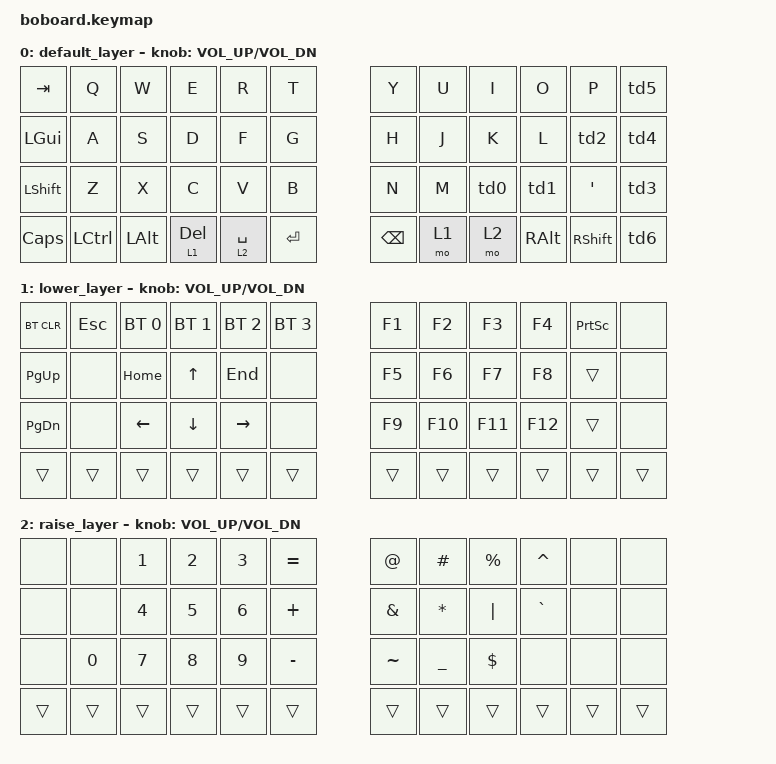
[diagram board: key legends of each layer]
/*
 * Copyright (c) 2023 The ZMK Contributors
 *
 * SPDX-License-Identifier: MIT
 */

#include <behaviors.dtsi>
#include <dt-bindings/zmk/keys.h>
#include <dt-bindings/zmk/bt.h>
#include <dt-bindings/zmk/ext_power.h>
#include <dt-bindings/zmk/outputs.h>


/* Uncomment this block if using RGB
&led_strip {
    chain-length = <6>;
    // chain-length = <35>; // Uncomment if using both per-key and underglow LEDs
    // chain-length = <29>; // Uncomment if using only per-key LEDs.
};
 */

&mt {
    tapping-term-ms = <200>;
};

/ {
    behaviors {
        td0: tap_dance_0 {
            compatible = "zmk,behavior-tap-dance";
            #binding-cells = <0>;
            tapping-term-ms = <200>;
            bindings = <&kp COMMA>, <&kp QUESTION>;
        };
        td1: tap_dance_1 {
            compatible = "zmk,behavior-tap-dance";
            #binding-cells = <0>;
            tapping-term-ms = <200>;
            bindings = <&kp PERIOD>, <&kp EXCLAMATION>;
        };
        td2: tap_dance_2 {
            compatible = "zmk,behavior-tap-dance";
            #binding-cells = <0>;
            tapping-term-ms = <200>;
            bindings = <&kp SEMI>, <&kp CARET>;
        };
        td3: tap_dance_3 {
            compatible = "zmk,behavior-tap-dance";
            #binding-cells = <0>;
            tapping-term-ms = <200>;
            bindings = <&kp LEFT_PARENTHESIS>, <&kp RIGHT_PARENTHESIS>;
        };
        td4: tap_dance_4 {
            compatible = "zmk,behavior-tap-dance";
            #binding-cells = <0>;
            tapping-term-ms = <200>;
            bindings = <&kp LEFT_BRACKET>, <&kp RIGHT_BRACKET>;
        };
        td5: tap_dance_5 {
            compatible = "zmk,behavior-tap-dance";
            #binding-cells = <0>;
            tapping-term-ms = <200>;
            bindings = <&kp LEFT_BRACE>, <&kp RIGHT_BRACE>;
        };
         td6: tap_dance_6 {
            compatible = "zmk,behavior-tap-dance";
            #binding-cells = <0>;
            tapping-term-ms = <200>;
            bindings = <&kp SLASH>, <&kp BACKSLASH>;
        };
    };

    keymap {
        compatible = "zmk,keymap";

        default_layer {
// ------------------------------------------------------------------------------------------------------------
// |  TAB  |  Q  |  W  |  E  |   R   |  T  |                   |  Y   |  U  |  I  |  O  |   P   |  { }  |
// |  WIN  |  A  |  S  |  D  |   F   |  G  |                   |  H   |  J  |  K  |  L  |  ; :  |  [ ]  |
// | SHIFT |  Z  |  X  |  C  |   V   |  B  |                   |  N   |  M  |,  < | .  >|  ' "  |  ( )  |
// | CAPS  | CTRL| ALT |1 DEL|2 SPACE|ENTER|                   | BSPC |  1  |  2  | ALT | SHIFT |  / \  |
            bindings = <
&kp TAB      &kp Q      &kp W       &kp E       &kp R       &kp T                      &kp Y      &kp U       &kp I       &kp O       &kp P            &td5
&kp LGUI     &kp A      &kp S       &kp D       &kp F       &kp G                      &kp H      &kp J       &kp K       &kp L       &td2             &td4
&kp LSHFT    &kp Z      &kp X       &kp C       &kp V       &kp B                      &kp N      &kp M       &td0        &td1        &kp APOSTROPHE   &td3
&kp CAPS     &kp LCTRL  &kp LALT    &lt 1 DEL   &lt 2 SPACE &kp ENTER                  &kp BSPC   &mo 1       &mo 2       &kp RALT    &kp RSHFT        &td6
            >;

            sensor-bindings = <&inc_dec_kp C_VOL_UP C_VOL_DN>;
        };

        lower_layer {
// ------------------------------------------------------------------------------------------------------------
// | BTCLR | ESC | BT1 | BT2 | BT3 | BT4 |                   |  F1  |  F2  |  F3  |  F4  |PSCRN|      |
// | PG_UP |     | HOME|  ↑  | END |     |                   |  F5  |  F6  |  F7  |  F8  |     |      |
// | PG_DN |     |  ←  |  ↓  |  →  |     |                   |  F9  |  F10 |  F11 | F12  |     |      |
// |       |     |     |     |     |     |                   |      |      |      |      |     |      |
            bindings = <
&bt BT_CLR   &kp ESC     &bt BT_SEL 0   &bt BT_SEL 1   &bt BT_SEL 2   &bt BT_SEL 3            &kp F1    &kp F2    &kp F3    &kp F4    &kp PSCRN  &none
&kp PG_UP    &none       &kp HOME       &kp UP         &kp END        &none                   &kp F5    &kp F6    &kp F7    &kp F8    &trans     &none
&kp PG_DN    &none       &kp LEFT       &kp DOWN       &kp RIGHT      &none                   &kp F9    &kp F10   &kp F11   &kp F12   &trans     &none
&trans       &trans      &trans         &trans         &trans         &trans                  &trans    &trans    &trans    &trans    &trans     &trans
            >;

            sensor-bindings = <&inc_dec_kp C_VOL_UP C_VOL_DN>;
        };

        raise_layer {
// ------------------------------------------------------------------------------------------------------------
// |   |   |  1  |  2  |  3  | = |                   |  @  |  #  |  %  |  ^  |     |     |
// |   |   |  4  |  5  |  6  | + |                   |  &  |  *  |  |  |  `  |     |     |
// |   | 0 |  7  |  8  |  9  | - |                   |  ~  |  _  |  $  |     |     |     |
// |   |   |     |     |     |   |                   |     |     |     |     |     |     |
            bindings = <
&none   &none    &kp N1   &kp N2    &kp N3    &kp EQUAL                   &kp AT     &kp HASH   &kp PRCNT  &kp CARET  &none     &none
&none   &none    &kp N4   &kp N5    &kp N6    &kp PLUS                    &kp AMPS   &kp ASTRK  &kp PIPE   &kp GRAVE  &none     &none
&none   &kp N0   &kp N7   &kp N8    &kp N9    &kp MINUS                   &kp TILDE  &kp UNDER  &kp DOLLAR &none      &none     &none
&trans  &trans   &trans   &trans    &trans    &trans                      &trans     &trans     &trans     &trans     &trans    &trans
              >;

                sensor-bindings = <&inc_dec_kp C_VOL_UP C_VOL_DN>;
        };
    };
};
